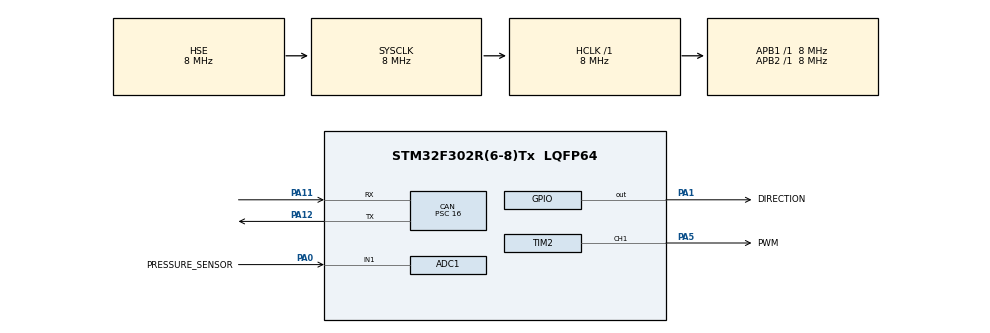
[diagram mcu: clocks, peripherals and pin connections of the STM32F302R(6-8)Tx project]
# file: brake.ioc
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ADC1.Channel-0\#ChannelRegularConversion=ADC_CHANNEL_1
ADC1.ContinuousConvMode=ENABLE
ADC1.DMAContinuousRequests=ENABLE
ADC1.NbrOfConversionFlag=1
ADC1.Offset-0\#ChannelRegularConversion=0
ADC1.OffsetNumber-0\#ChannelRegularConversion=ADC_OFFSET_NONE
ADC1.Rank-0\#ChannelRegularConversion=1
ADC1.SamplingTime-0\#ChannelRegularConversion=ADC_SAMPLETIME_61CYCLES_5
ADC1.SamplingTimeOPAMP-0\#ChannelRegularConversion=ADC_SAMPLETIME_7CYCLES_5
ADC1.SubFamily=STM32F302x8
ADC1.master=1
CAN.BS1=CAN_BS1_2TQ
CAN.CalculateBaudRate=125000
CAN.CalculateTimeBit=8000
CAN.CalculateTimeQuantum=2000.0
CAN.Prescaler=16
Dma.ADC1.0.Direction=DMA_PERIPH_TO_MEMORY
Dma.ADC1.0.Instance=DMA1_Channel1
Dma.ADC1.0.MemDataAlignment=DMA_MDATAALIGN_HALFWORD
Dma.ADC1.0.MemInc=DMA_MINC_ENABLE
Dma.ADC1.0.Mode=DMA_CIRCULAR
Dma.ADC1.0.PeriphDataAlignment=DMA_PDATAALIGN_HALFWORD
Dma.ADC1.0.PeriphInc=DMA_PINC_DISABLE
Dma.ADC1.0.Priority=DMA_PRIORITY_LOW
Dma.Request0=ADC1
Mcu.Family=STM32F3
Mcu.Name=STM32F302R(6-8)Tx
Mcu.Package=LQFP64
NVIC.DMA1_Channel1_IRQn=true\:0\:0\:false\:false\:true\:false\:true\:true
NVIC.PriorityGroup=NVIC_PRIORITYGROUP_4
NVIC.TIM2_IRQn=true\:0\:0\:false\:false\:true\:true\:true\:true
PA0.GPIO_Label=PRESSURE_SENSOR
PA0.Mode=IN1-Single-Ended
PA0.Signal=ADC1_IN1
PA1.GPIO_Label=DIRECTION
PA1.Signal=GPIO_Output
PA11.Mode=CAN_Activate
PA11.Signal=CAN_RX
PA12.Mode=CAN_Activate
PA12.Signal=CAN_TX
PA5.GPIO_Label=PWM
PA5.Signal=S_TIM2_CH1_ETR
PF0-OSC_IN.Mode=HSE-External-Oscillator
PF0-OSC_IN.Signal=RCC_OSC_IN
PF1-OSC_OUT.Mode=HSE-External-Oscillator
PF1-OSC_OUT.Signal=RCC_OSC_OUT
ProjectManager.HeapSize=0x200
ProjectManager.StackSize=0x400
ProjectManager.TargetToolchain=STM32CubeIDE
RCC.ADC12PRES=RCC_ADC1PLLCLK_DIV256
RCC.AHBFreq_Value=8000000
RCC.APB1Freq_Value=8000000
RCC.APB1TimFreq_Value=8000000
RCC.APB2Freq_Value=8000000
RCC.APB2TimFreq_Value=8000000
RCC.CortexFreq_Value=8000000
RCC.HCLKFreq_Value=8000000
RCC.HSE_VALUE=8000000
RCC.HSI_VALUE=8000000
RCC.LSE_VALUE=32768
RCC.PLLSourceVirtual=RCC_PLLSOURCE_HSE
RCC.SYSCLKFreq_VALUE=8000000
RCC.SYSCLKSourceVirtual=RCC_SYSCLKSOURCE_HSE
RCC.USBFreq_Value=16000000
SH.S_TIM2_CH1_ETR.0=TIM2_CH1,PWM Generation1 CH1
TIM2.AutoReloadPreload=TIM_AUTORELOAD_PRELOAD_DISABLE
TIM2.Channel-PWM\ Generation1\ CH1=TIM_CHANNEL_1
TIM2.OC1Preload_PWM=DISABLE
TIM2.Period=100-1
TIM2.Prescaler=1000-1
TIM2.Pulse-PWM\ Generation1\ CH1=80
VP_TIM2_VS_ClockSourceINT.Mode=Internal
board=custom

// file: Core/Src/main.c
/* USER CODE BEGIN Header */
/**
  ******************************************************************************
  * @file           : main.c
  * @brief          : Main program body
  ******************************************************************************
  * @attention
  *
  * Copyright (c) 2022 STMicroelectronics.
  * All rights reserved.
  *
  * This software is licensed under terms that can be found in the LICENSE file
  * in the root directory of this software component.
  * If no LICENSE file comes with this software, it is provided AS-IS.
  *
  ******************************************************************************
  */
/* USER CODE END Header */
#include "main.h"

/* USER CODE BEGIN Includes */
#include <math.h>
#include "mmr_can.h"
#include "mmr_can_msg_conversions.h"
/* USER CODE END Includes */

/* USER CODE BEGIN PD */
#define BUFFER_LENGTH 10
#define MAX_ADC_VALUE 4096
#define MAX_ADC_VOLTAGE 3.6f // [V]
#define CONVERSION_FACTOR 40.0f // [bar/V]
#define AMBIENT_PRESSURE_VOLTAGE 0.5f // [V]
#define TOLERANCE 0.5f // [bar]
#define PRESCALER_SLOWEST 1000-1
#define PRESCALER_FASTEST 70-1
#define PRESSURE_RANGE 12.0f
/* USER CODE END PD */

 ADC_HandleTypeDef hadc1;
DMA_HandleTypeDef hdma_adc1;

CAN_HandleTypeDef hcan;

TIM_HandleTypeDef htim2;

void SystemClock_Config(void);
static void MX_GPIO_Init(void);
static void MX_TIM2_Init(void);
static void MX_DMA_Init(void);
static void MX_ADC1_Init(void);
static void MX_CAN_Init(void);

/* USER CODE BEGIN 0 */
uint8_t control_option = 0; // 0 = constant speed, 1 = proportional speed.
float target_pressure=0.5; // MUST BE CONNECTED TO CAN! Value from NPC is given in 0-1 range
float current_pressure=0;
float pressure_error=0;
int prescaler=1000-1;

uint16_t ADC_values[BUFFER_LENGTH];
uint16_t temp=0;

// Function to calculate the average of the ADC values and convert to pressure ([bar]), following BODAS datasheet.
float Current_pressure(){
	float pressure = 0;
	temp=0;
	for(int i=0; i<BUFFER_LENGTH; i++)
	{
		temp+=ADC_values[i];
	}
	temp/=(BUFFER_LENGTH*MAX_ADC_VALUE);
	pressure=temp*MAX_ADC_VOLTAGE;
	pressure=(pressure-AMBIENT_PRESSURE_VOLTAGE)*CONVERSION_FACTOR;
	return pressure;
}

// Function to choose the direction of the motor based on the error.
void Direction_set(float error){
	if(error>TOLERANCE){
		if(HAL_GPIO_ReadPin(DIRECTION_GPIO_Port, DIRECTION_Pin)==GPIO_PIN_RESET){
			HAL_GPIO_WritePin(DIRECTION_GPIO_Port, DIRECTION_Pin, GPIO_PIN_SET);
		}
	}
	else if (error<-TOLERANCE){
		if(HAL_GPIO_ReadPin(DIRECTION_GPIO_Port, DIRECTION_Pin)==GPIO_PIN_SET){
				HAL_GPIO_WritePin(DIRECTION_GPIO_Port, DIRECTION_Pin, GPIO_PIN_RESET);
		}
	}
}

// Function to set speed (prescaler) proportionally to the absolute value of the pressure error;
void Speed_set(float error){
	error=fabsf(error);
	if(error<TOLERANCE && error>-TOLERANCE){
		TIM2->CCR1=0;
	}
	else if (control_option==0){
		prescaler=PRESCALER_FASTEST;
		TIM2->CCR1=50-1;
		TIM2->PSC=(uint16_t) (prescaler);
	}
	else if (control_option==1){
		prescaler=PRESCALER_SLOWEST+(PRESCALER_FASTEST-PRESCALER_SLOWEST)*error/PRESSURE_RANGE;
		TIM2->CCR1=50-1;
		if(prescaler<PRESCALER_FASTEST) prescaler=PRESCALER_FASTEST;
		TIM2->PSC=(uint16_t) (prescaler);
	}
}

void HAL_TIM_PeriodElapsedCallback(TIM_HandleTypeDef *htim)
{
  // Check which version of the timer triggered this callback
  if (htim == &htim2 )
  {
	  pressure_error=target_pressure*PRESSURE_RANGE-current_pressure;
	  Direction_set(pressure_error);
	  Speed_set(pressure_error);
  }
}
/* USER CODE END 0 */

int main(void)
{

  /* MCU Configuration--------------------------------------------------------*/

  /* Reset of all peripherals, Initializes the Flash interface and the Systick. */
  HAL_Init();

  /* Configure the system clock */
  SystemClock_Config();

  /* Initialize all configured peripherals */
  MX_GPIO_Init();
  MX_TIM2_Init();
  MX_DMA_Init();
  MX_ADC1_Init();
  MX_CAN_Init();
  /* USER CODE BEGIN 2 */
  // We initialise the ADC buffer to zero
  for(int i=0; i<BUFFER_LENGTH; i++)
  {
	  ADC_values[i]=0;
  }

  HAL_ADC_Start_DMA(&hadc1, (uint16_t *)ADC_values, BUFFER_LENGTH); // Syntax error is NOT relevant!

  HAL_TIM_Base_Start_IT(&htim2);
  HAL_TIM_PWM_Start_IT(&htim2, TIM_CHANNEL_1);
  /* USER CODE END 2 */

  /* Infinite loop */
  /* USER CODE BEGIN WHILE */
  CanRxBuffer canRxBuffer = {};
  MmrCanMessage msg = {
    .store = canRxBuffer,
  };

  while (1)
  {
    MmrResult rxResult = MMR_CAN_TryReceive(&hcan, &msg);
    if (rxResult == MMR_RESULT_COMPLETED) {
      switch (msg.header.messageId) {
      case MMR_CAN_MESSAGE_ID_D_BREAKING_PERCENTAGE:
        current_pressure = MMR_CAN_MsgToFloat(msg) * PRESSURE_RANGE;
        break;
      }
    }
    else if (MMR_RESULT_ERROR) {
      Error_Handler();
    }

    /* USER CODE END WHILE */

  }
}

void SystemClock_Config(void)
{
  RCC_OscInitTypeDef RCC_OscInitStruct = {0};
  RCC_ClkInitTypeDef RCC_ClkInitStruct = {0};

  /** Initializes the RCC Oscillators according to the specified parameters
  * in the RCC_OscInitTypeDef structure.
  */
  RCC_OscInitStruct.OscillatorType = RCC_OSCILLATORTYPE_HSE;
  RCC_OscInitStruct.HSEState = RCC_HSE_ON;
  RCC_OscInitStruct.HSIState = RCC_HSI_ON;
  RCC_OscInitStruct.PLL.PLLState = RCC_PLL_NONE;
  if (HAL_RCC_OscConfig(&RCC_OscInitStruct) != HAL_OK)
  {
    Error_Handler();
  }

  /** Initializes the CPU, AHB and APB buses clocks
  */
  RCC_ClkInitStruct.ClockType = RCC_CLOCKTYPE_HCLK|RCC_CLOCKTYPE_SYSCLK
                              |RCC_CLOCKTYPE_PCLK1|RCC_CLOCKTYPE_PCLK2;
  RCC_ClkInitStruct.SYSCLKSource = RCC_SYSCLKSOURCE_HSE;
  RCC_ClkInitStruct.AHBCLKDivider = RCC_SYSCLK_DIV1;
  RCC_ClkInitStruct.APB1CLKDivider = RCC_HCLK_DIV1;
  RCC_ClkInitStruct.APB2CLKDivider = RCC_HCLK_DIV1;

  if (HAL_RCC_ClockConfig(&RCC_ClkInitStruct, FLASH_LATENCY_0) != HAL_OK)
  {
    Error_Handler();
  }
}

static void MX_ADC1_Init(void)
{

  ADC_ChannelConfTypeDef sConfig = {0};

  /** Common config
  */
  hadc1.Instance = ADC1;
  hadc1.Init.ClockPrescaler = ADC_CLOCK_SYNC_PCLK_DIV1;
  hadc1.Init.Resolution = ADC_RESOLUTION_12B;
  hadc1.Init.ScanConvMode = ADC_SCAN_DISABLE;
  hadc1.Init.ContinuousConvMode = ENABLE;
  hadc1.Init.DiscontinuousConvMode = DISABLE;
  hadc1.Init.ExternalTrigConvEdge = ADC_EXTERNALTRIGCONVEDGE_NONE;
  hadc1.Init.ExternalTrigConv = ADC_SOFTWARE_START;
  hadc1.Init.DataAlign = ADC_DATAALIGN_RIGHT;
  hadc1.Init.NbrOfConversion = 1;
  hadc1.Init.DMAContinuousRequests = ENABLE;
  hadc1.Init.EOCSelection = ADC_EOC_SINGLE_CONV;
  hadc1.Init.LowPowerAutoWait = DISABLE;
  hadc1.Init.Overrun = ADC_OVR_DATA_OVERWRITTEN;
  if (HAL_ADC_Init(&hadc1) != HAL_OK)
  {
    Error_Handler();
  }

  /** Configure Regular Channel
  */
  sConfig.Channel = ADC_CHANNEL_1;
  sConfig.Rank = ADC_REGULAR_RANK_1;
  sConfig.SingleDiff = ADC_SINGLE_ENDED;
  sConfig.SamplingTime = ADC_SAMPLETIME_61CYCLES_5;
  sConfig.OffsetNumber = ADC_OFFSET_NONE;
  sConfig.Offset = 0;
  if (HAL_ADC_ConfigChannel(&hadc1, &sConfig) != HAL_OK)
  {
    Error_Handler();
  }

}

static void MX_CAN_Init(void)
{

  hcan.Instance = CAN;
  hcan.Init.Prescaler = 16;
  hcan.Init.Mode = CAN_MODE_NORMAL;
  hcan.Init.SyncJumpWidth = CAN_SJW_1TQ;
  hcan.Init.TimeSeg1 = CAN_BS1_2TQ;
  hcan.Init.TimeSeg2 = CAN_BS2_1TQ;
  hcan.Init.TimeTriggeredMode = DISABLE;
  hcan.Init.AutoBusOff = DISABLE;
  hcan.Init.AutoWakeUp = DISABLE;
  hcan.Init.AutoRetransmission = DISABLE;
  hcan.Init.ReceiveFifoLocked = DISABLE;
  hcan.Init.TransmitFifoPriority = DISABLE;
  if (HAL_CAN_Init(&hcan) != HAL_OK)
  {
    Error_Handler();
  }
  /* USER CODE BEGIN CAN_Init 2 */

  if (MMR_CAN_BasicSetupAndStart(&hcan) != HAL_OK) {
    Error_Handler();
  }

  /* USER CODE END CAN_Init 2 */

}

static void MX_TIM2_Init(void)
{

  TIM_ClockConfigTypeDef sClockSourceConfig = {0};
  TIM_MasterConfigTypeDef sMasterConfig = {0};
  TIM_OC_InitTypeDef sConfigOC = {0};

  htim2.Instance = TIM2;
  htim2.Init.Prescaler = 1000-1;
  htim2.Init.CounterMode = TIM_COUNTERMODE_UP;
  htim2.Init.Period = 100-1;
  htim2.Init.ClockDivision = TIM_CLOCKDIVISION_DIV1;
  htim2.Init.AutoReloadPreload = TIM_AUTORELOAD_PRELOAD_DISABLE;
  if (HAL_TIM_Base_Init(&htim2) != HAL_OK)
  {
    Error_Handler();
  }
  sClockSourceConfig.ClockSource = TIM_CLOCKSOURCE_INTERNAL;
  if (HAL_TIM_ConfigClockSource(&htim2, &sClockSourceConfig) != HAL_OK)
  {
    Error_Handler();
  }
  if (HAL_TIM_PWM_Init(&htim2) != HAL_OK)
  {
    Error_Handler();
  }
  sMasterConfig.MasterOutputTrigger = TIM_TRGO_RESET;
  sMasterConfig.MasterSlaveMode = TIM_MASTERSLAVEMODE_DISABLE;
  if (HAL_TIMEx_MasterConfigSynchronization(&htim2, &sMasterConfig) != HAL_OK)
  {
    Error_Handler();
  }
  sConfigOC.OCMode = TIM_OCMODE_PWM1;
  sConfigOC.Pulse = 80;
  sConfigOC.OCPolarity = TIM_OCPOLARITY_HIGH;
  sConfigOC.OCFastMode = TIM_OCFAST_DISABLE;
  if (HAL_TIM_PWM_ConfigChannel(&htim2, &sConfigOC, TIM_CHANNEL_1) != HAL_OK)
  {
    Error_Handler();
  }
  __HAL_TIM_DISABLE_OCxPRELOAD(&htim2, TIM_CHANNEL_1);
  HAL_TIM_MspPostInit(&htim2);

}

static void MX_DMA_Init(void)
{

  /* DMA controller clock enable */
  __HAL_RCC_DMA1_CLK_ENABLE();

  /* DMA interrupt init */
  /* DMA1_Channel1_IRQn interrupt configuration */
  HAL_NVIC_SetPriority(DMA1_Channel1_IRQn, 0, 0);
  HAL_NVIC_EnableIRQ(DMA1_Channel1_IRQn);

}

static void MX_GPIO_Init(void)
{
  GPIO_InitTypeDef GPIO_InitStruct = {0};

  /* GPIO Ports Clock Enable */
  __HAL_RCC_GPIOF_CLK_ENABLE();
  __HAL_RCC_GPIOA_CLK_ENABLE();

  /*Configure GPIO pin Output Level */
  HAL_GPIO_WritePin(DIRECTION_GPIO_Port, DIRECTION_Pin, GPIO_PIN_RESET);

  /*Configure GPIO pin : DIRECTION_Pin */
  GPIO_InitStruct.Pin = DIRECTION_Pin;
  GPIO_InitStruct.Mode = GPIO_MODE_OUTPUT_PP;
  GPIO_InitStruct.Pull = GPIO_NOPULL;
  GPIO_InitStruct.Speed = GPIO_SPEED_FREQ_LOW;
  HAL_GPIO_Init(DIRECTION_GPIO_Port, &GPIO_InitStruct);

}

void Error_Handler(void)
{
  __disable_irq();
  while (1)
  {
  }
}
